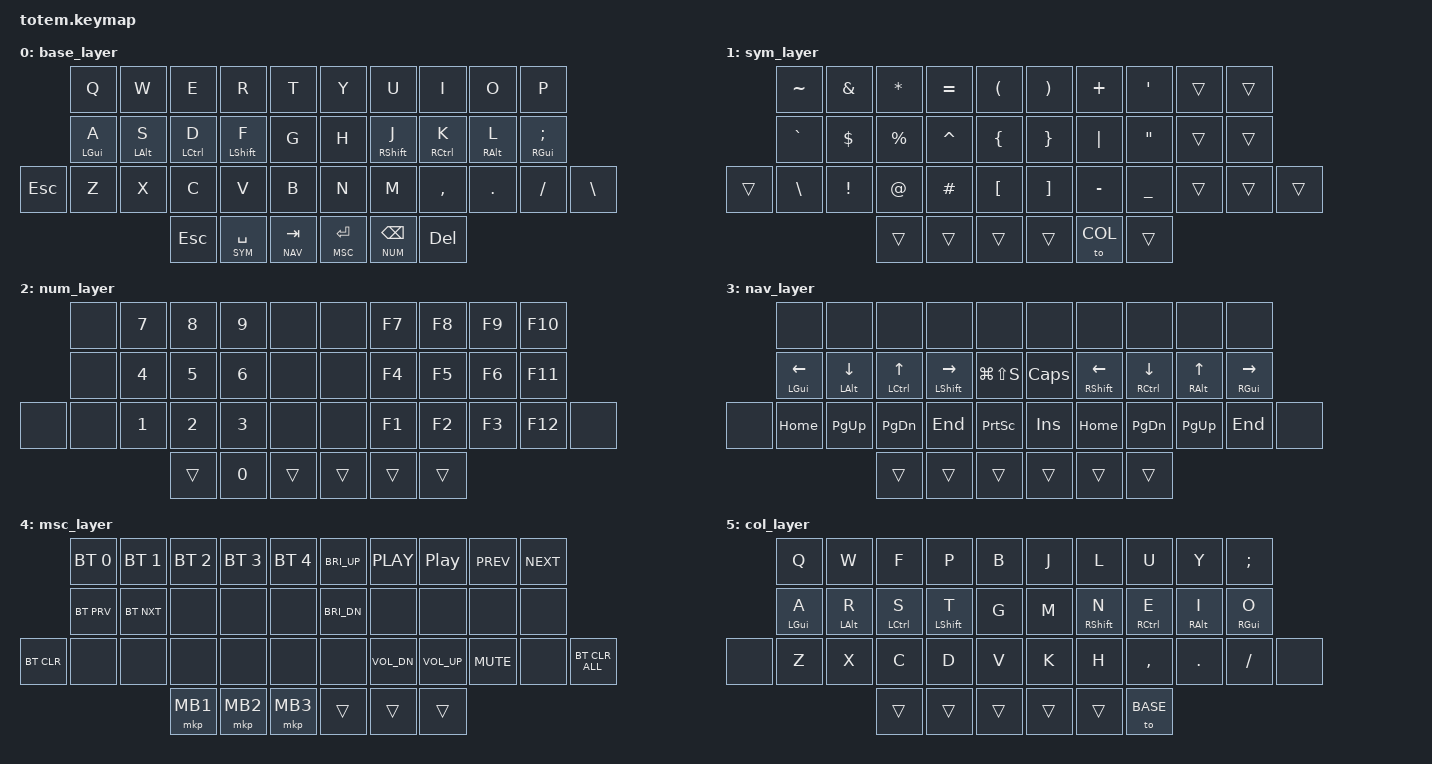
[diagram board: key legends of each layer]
//
//                                                        ▀▀▀▀▀     ▀▀▀▀▀          ▀▀█▀▀
//                                                        ▄▀▀▀▄  ▄  ▄▀▀▀▄  ▄  ▄▀▀▀▄  █  ▄▀▀▀▄
//                                                        █   █  █  █   █  █  █   █  █  █   █
//                                                         ▀▀▀   █   ▀▀▀   █   ▀▀▀   ▀   ▀▀▀
//                                                               █      ▄▄▄█▄▄▄    █   █  
//                                                               ▀      █  █  █     █▄█
//                                                             ▀▀▀▀▀    █  █  █      ▀
//                                                                      ▀  ▀  ▀
//
//  ▄▄▄▄▄▄▄▄▄▄▄▄▄▄▄▄▄▄▄▄▄▄▄▄▄▄▄▄▄▄▄▄▄▄▄▄▄▄▄▄▄▄▄▄▄▄▄▄▄▄▄▄▄▄▄▄▄▄▄▄▄▄▄▄▄▄▄▄▄▄▄▄▄▄▄▄▄▄▄▄▄▄▄▄▄▄▄▄▄▄▄▄▄▄▄▄▄▄▄▄▄▄▄▄▄▄▄▄▄▄▄▄▄▄▄▄▄▄▄▄▄▄▄▄▄▄▄▄▄▄▄▄▄▄▄▄▄▄▄▄▄▄▄▄▄▄▄▄▄
       

#include <behaviors.dtsi>
#include <dt-bindings/zmk/keys.h>
#include <dt-bindings/zmk/bt.h>
#include <dt-bindings/zmk/outputs.h>
#include <dt-bindings/zmk/mouse.h>

#define BASE 0
#define SYM  1
#define NUM  2
#define NAV  3
#define MSC  4
#define COL  5
// #define ADJ  3
// #define TVP1 4
// #define TVP2 5

&mt {
  quick-tap-ms = <100>;
  global-quick-tap;
  flavor = "tap-preferred";
  tapping-term-ms = <170>;
};

//		0	1	2	3	4		5	6	7	8	9
//		10	11	12	13	14		15	16	17	18	19
//	20	21	22	23	24	25		26	27	28	29	30	31
//				32	33	34		35	36	37


/ {
     combos {
            compatible = "zmk,combos";
            combo_esc {
                timeout-ms = <50>;
                key-positions = <18 19>;
                bindings = <&kp ESC>;
            };
			combo_del {
				timeout-ms = <50>;
				key-positions = <29 30>;
				bindings = <&kp DEL>;
			};

			combo_lpar {
				timeout-ms = <50>;
				key-positions = <2 3>;
				bindings = <&kp LPAR>;
			};
			combo_rpar {
				timeout-ms = <50>;
				key-positions = <6 7>;
				bindings = <&kp RPAR>;
			};
			combo_lbrc {
				timeout-ms = <50>;
				key-positions = <12 13>;
				bindings = <&kp LBRC>;
			};
			combo_rbrc {
				timeout-ms = <50>;
				key-positions = <16 17>;
				bindings = <&kp RBRC>;
			};
			combo_lbkt {
				timeout-ms = <50>;
				key-positions = <23 24>;
				bindings = <&kp LBKT>;
			};
			combo_rbkt {
				timeout-ms = <50>;
				key-positions = <27 28>;
				bindings = <&kp RBKT>;
			};
			
			combo_copy {
				timeout-ms = <50>;
				key-positions = <7 8>;
				bindings = <&kp LC(C)>;
			};
			combo_paste {
				timeout-ms = <50>;
				key-positions = <8 9>;
				bindings = <&kp LC(V)>;
			};
//            combo_tvp {
//                timeout-ms = <100>;
//                key-positions = <11 12 13>;
//                bindings = <&tog TVP1>;
//            };
    };

    macros {
        paste_return: paste_return  {
//            label = "giphy";
            compatible = "zmk,behavior-macro";
            #binding-cells = <0>;
            bindings
                = <&macro_press &kp LCTRL>
                , <&macro_tap &kp V>
                , <&macro_release &kp LCTRL>
                , <&macro_tap &kp ENTER>
                ;
        };
    };

        keymap {
                compatible = "zmk,keymap";
// ▄▄▄▄▄▄▄▄▄▄▄▄▄▄▄▄▄▄▄▄▄▄▄▄▄▄▄▄▄▄▄▄▄▄▄▄▄▄▄▄▄▄▄▄▄▄▄▄▄▄▄▄▄▄▄▄▄▄▄▄▄▄▄▄▄▄▄▄▄▄▄▄▄▄▄▄▄▄▄▄▄▄▄▄▄▄▄▄▄▄▄▄▄▄▄▄▄▄▄▄▄▄▄▄▄▄▄▄▄▄▄▄▄▄▄▄▄▄▄▄▄▄▄▄▄▄▄▄▄▄▄▄▄▄▄▄▄▄▄▄▄▄▄▄▄▄▄▄▄

                base_layer {
// ┏━━━━━━━━━━━━━━━━━━━━━━━━━━━━━━━━━━━━━━━┓
//label= "BASE"                              ;
// ┗━━━━━━━━━━━━━━━━━━━━━━━━━━━━━━━━━━━━━━━┛
//             ┏━━━━━━━━━━━┳━━━━━━━━━━━┳━━━━━━━━━━━┳━━━━━━━━━━━┳━━━━━━━━━━━┓   ┏━━━━━━━━━━━┳━━━━━━━━━━━┳━━━━━━━━━━━┳━━━━━━━━━━━┳━━━━━━━━━━━┓
//             ┃     Q     ┃     W     ┃     F     ┃     P     ┃     G     ┃   ┃     J     ┃     L     ┃     U     ┃     Y     ┃     ;     ┃
//             ┣━━━━━━━━━━━╋━━━━━━━━━━━╋━━━━━━━━━━━╋━━━━━━━━━━━╋━━━━━━━━━━━┫   ┣━━━━━━━━━━━╋━━━━━━━━━━━╋━━━━━━━━━━━╋━━━━━━━━━━━╋━━━━━━━━━━━┫
//             ┃     A     ┃     R     ┃     S     ┃     T     ┃     D     ┃   ┃     H     ┃     N     ┃     E     ┃     I     ┃     O     ┃
// ┏━━━━━━━━━━━╋━━━━━━━━━━━╋━━━━━━━━━━━╋━━━━━━━━━━━╋━━━━━━━━━━━╋━━━━━━━━━━━┫   ┣━━━━━━━━━━━╋━━━━━━━━━━━╋━━━━━━━━━━━╋━━━━━━━━━━━╋━━━━━━━━━━━╋━━━━━━━━━━━┓
// ┃     Q     ┃     Z     ┃     X     ┃     C     ┃     V     ┃     B     ┃   ┃     K     ┃     M     ┃     ,     ┃     .     ┃     /     ┃     \     ┃
// ┗━━━━━━━━━━━┻━━━━━━━━━━━┻━━━━━━━━━━━╋━━━━━━━━━━━╋━━━━━━━━━━━╋━━━━━━━━━━━┫   ┣━━━━━━━━━━━╋━━━━━━━━━━━╋━━━━━━━━━━━╋━━━━━━━━━━━┻━━━━━━━━━━━┻━━━━━━━━━━━┛
//                                     ┃    DEL    ┃    TAB    ┃    SPC    ┃   ┃   ENTER   ┃           ┃   BSPC    ┃
//                                     ┗━━━━━━━━━━━┻━━━━━━━━━━━┻━━━━━━━━━━━┛   ┗━━━━━━━━━━━┻━━━━━━━━━━━┻━━━━━━━━━━━┛
 bindings = <
// ╷           ╷           ╷           ╷           ╷           ╷           ╷   ╷           ╷           ╷           ╷           ╷           ╷           ╷
				&kp Q			&kp W			&kp E			&kp R			&kp T           &kp Y       	&kp U       	&kp I       	&kp O       	&kp P
				&mt LGUI A		&mt LALT S		&mt LCTRL D		&mt LSHFT F		&kp G           &kp H       	&mt RSHFT J 	&mt RCTRL K 	&mt RALT L  	&mt RGUI SEMI
	&kp ESC		&kp Z			&kp X			&kp C			&kp V			&kp B           &kp N       	&kp M       	&kp COMMA   	&kp DOT     	&kp FSLH		&kp BSLH
												&kp ESC			&lt SYM SPACE	&lt NAV TAB		&lt MSC RET		&lt NUM BSPC	&kp DEL
//												&none			&none			&none			&none			&none			&none
                        >;
                };

// ▄▄▄▄▄▄▄▄▄▄▄▄▄▄▄▄▄▄▄▄▄▄▄▄▄▄▄▄▄▄▄▄▄▄▄▄▄▄▄▄▄▄▄▄▄▄▄▄▄▄▄▄▄▄▄▄▄▄▄▄▄▄▄▄▄▄▄▄▄▄▄▄▄▄▄▄▄▄▄▄▄▄▄▄▄▄▄▄▄▄▄▄▄▄▄▄▄▄▄▄▄▄▄▄▄▄▄▄▄▄▄▄▄▄▄▄▄▄▄▄▄▄▄▄▄▄▄▄▄▄▄▄▄▄▄▄▄▄▄▄▄▄▄▄▄▄▄▄▄


                sym_layer {
//label= "SYM";
 bindings = <
                &kp TILDE		&kp AMPERSAND	&kp ASTERISK	&kp EQUAL		&kp LPAR		&kp RPAR		&kp PLUS		&kp APOS		&trans			&trans
                &kp GRAVE		&kp DOLLAR		&kp PERCENT		&kp CARET		&kp LBRC		&kp RBRC		&kp PIPE		&kp DQT 		&trans			&trans
	&trans		&kp BACKSLASH	&kp EXCL		&kp AT			&kp HASH		&kp LBKT		&kp RBKT		&kp MINUS		&kp UNDERSCORE	&trans			&trans			&trans      
												&trans			&trans			&trans			&trans			&to COL 		&trans      
                        >;
                };


                num_layer {
//label= "NUM";
 bindings = <
                &none			&kp N7			&kp N8			&kp N9			&none			&none			&kp F7			&kp F8			&kp F9			&kp F10
                &none			&kp N4			&kp N5			&kp N6			&none			&none			&kp F4			&kp F5			&kp F6			&kp F11
	&none		&none			&kp N1			&kp N2			&kp N3			&none			&none			&kp F1			&kp F2			&kp F3			&kp F12			&none      
												&trans			&kp N0			&trans			&trans			&trans			&trans      
                        >;
                };

				
	            nav_layer {
//label= "NAV";
 bindings = <
                &none			&none			&none			&none			&none			&none			&none			&none			&none			&none
                &mt LGUI LEFT	&mt LALT DOWN	&mt LCTRL UP	&mt LSHFT RIGHT &kp LG(LS(S))	&kp CAPS		&mt RSHFT LEFT	&mt RCTRL DOWN	&mt RALT UP	&mt RGUI RIGHT
	&none		&kp HOME		&kp PG_UP		&kp PG_DN		&kp END			&kp PSCRN		&kp INS			&kp HOME		&kp PG_DN		&kp PG_UP		&kp END			&none      
												&trans			&trans			&trans			&trans			&trans			&trans      
                        >;
                };

				
	            msc_layer {
//label= "MSC";
 bindings = <
				&bt BT_SEL 0	&bt BT_SEL 1	&bt	BT_SEL 2	&bt	BT_SEL 3	&bt	BT_SEL 4	&kp C_BRI_UP	&kp C_PLAY		&kp C_PP		&kp C_PREV		&kp C_NEXT
				&bt BT_PRV		&bt BT_NXT		&none			&none			&none			&kp C_BRI_DN	&none			&none			&none			&none
	&bt BT_CLR	&none			&none			&none			&none			&none			&none			&kp C_VOL_DN	&kp C_VOL_UP	&kp C_MUTE		&none			&bt BT_CLR_ALL  
												&mkp MB1		&mkp MB2		&mkp MB3		&trans			&trans			&trans      
//												&trans			&trans			&trans			&trans			&trans			&trans      
                        >;
                };


	            col_layer {
//label= "COL";
 bindings = <
                &kp Q			&kp W			&kp F			&kp P			&kp B			&kp J			&kp L			&kp U			&kp Y			&kp SEMI
                &mt LGUI A 		&mt LALT R 		&mt LCTRL S 	&mt LSHFT T 	&kp G			&kp M			&mt RSHFT N		&mt RCTRL E		&mt RALT I		&mt RGUI O
	&none		&kp Z			&kp X			&kp C			&kp D			&kp V			&kp K			&kp H			&kp COMMA		&kp DOT			&kp FSLH		&none      
												&trans 			&trans 			&trans 			&trans 			&trans 			&to BASE      
                        >;
                };	
			

//                nav_layer {
// ┏━━━━━━━━━━━━━━━━━━━━━━━━━━━━━━━━━━━━━━━┓
//label= "NAVI"                              ;
// ┗━━━━━━━━━━━━━━━━━━━━━━━━━━━━━━━━━━━━━━━┛
//             ┏━━━━━━━━━━━┳━━━━━━━━━━━┳━━━━━━━━━━━┳━━━━━━━━━━━┳━━━━━━━━━━━┓   ┏━━━━━━━━━━━┳━━━━━━━━━━━┳━━━━━━━━━━━┳━━━━━━━━━━━┳━━━━━━━━━━━┓
//             ┃           ┃           ┃     UP    ┃           ┃     {     ┃   ┃     }     ┃     7     ┃     8     ┃     9     ┃     +     ┃
//             ┣━━━━━━━━━━━╋━━━━━━━━━━━╋━━━━━━━━━━━╋━━━━━━━━━━━╋━━━━━━━━━━━┫   ┣━━━━━━━━━━━╋━━━━━━━━━━━╋━━━━━━━━━━━╋━━━━━━━━━━━╋━━━━━━━━━━━┫
//             ┃   SHIFT   ┃   LEFT    ┃    DOWN   ┃   RIGHT   ┃     [     ┃   ┃     ]     ┃     4     ┃     5     ┃     6     ┃     -     ┃
// ┏━━━━━━━━━━━╋━━━━━━━━━━━╋━━━━━━━━━━━╋━━━━━━━━━━━╋━━━━━━━━━━━╋━━━━━━━━━━━┫   ┣━━━━━━━━━━━╋━━━━━━━━━━━╋━━━━━━━━━━━╋━━━━━━━━━━━╋━━━━━━━━━━━╋━━━━━━━━━━━┓
// ┃           ┃           ┃   P UP    ┃  C LOCK   ┃  P DOWN   ┃     (     ┃   ┃     )     ┃     1     ┃     2     ┃     3     ┃     *     ┃           ┃
// ┗━━━━━━━━━━━┻━━━━━━━━━━━┻━━━━━━━━━━━╋━━━━━━━━━━━╋━━━━━━━━━━━╋━━━━━━━━━━━┫   ┣━━━━━━━━━━━╋━━━━━━━━━━━╋━━━━━━━━━━━╋━━━━━━━━━━━┻━━━━━━━━━━━┻━━━━━━━━━━━┛
//                                     ┃           ┃    TAB    ┃    SPC    ┃   ┃    DEL    ┃     0     ┃           ┃
//                                     ┗━━━━━━━━━━━┻━━━━━━━━━━━┻━━━━━━━━━━━┛   ┗━━━━━━━━━━━┻━━━━━━━━━━━┻━━━━━━━━━━━┛
// bindings = <
// ╷           ╷           ╷           ╷           ╷           ╷           ╷   ╷           ╷           ╷           ╷           ╷           ╷           ╷
//
//                &kp ESC     &bt BT_CLR  &kp UP      &kp EQUAL   &kp LBRC        &kp RBRC    &kp KP_N7   &kp KP_N8   &kp KP_N9   &kp KP_PLUS
//                &kp LSHFT   &kp LEFT    &kp DOWN    &kp RIGHT   &kp LBKT        &kp RBKT    &kp KP_N4   &kp KP_N5   &kp KP_N6   &kp KP_MINUS
//    &trans      &kp DEL     &kp PG_UP   &kp CAPS    &kp PG_DN   &kp LPAR        &kp RPAR    &kp KP_N1   &kp KP_N2   &kp KP_N3   &kp KP_MULTIPLY &trans      
//                                        &trans      &trans      &trans          &mo ADJ     &kp KP_N0   &trans      
//                        >;
//                };

// ▄▄▄▄▄▄▄▄▄▄▄▄▄▄▄▄▄▄▄▄▄▄▄▄▄▄▄▄▄▄▄▄▄▄▄▄▄▄▄▄▄▄▄▄▄▄▄▄▄▄▄▄▄▄▄▄▄▄▄▄▄▄▄▄▄▄▄▄▄▄▄▄▄▄▄▄▄▄▄▄▄▄▄▄▄▄▄▄▄▄▄▄▄▄▄▄▄▄▄▄▄▄▄▄▄▄▄▄▄▄▄▄▄▄▄▄▄▄▄▄▄▄▄▄▄▄▄▄▄▄▄▄▄▄▄▄▄▄▄▄▄▄▄▄▄▄▄▄▄


//                sim_layer {
// ┏━━━━━━━━━━━━━━━━━━━━━━━━━━━━━━━━━━━━━━━┓
//label= "SYM"                               ;
// ┗━━━━━━━━━━━━━━━━━━━━━━━━━━━━━━━━━━━━━━━┛
//             ┏━━━━━━━━━━━┳━━━━━━━━━━━┳━━━━━━━━━━━┳━━━━━━━━━━━┳━━━━━━━━━━━┓   ┏━━━━━━━━━━━┳━━━━━━━━━━━┳━━━━━━━━━━━┳━━━━━━━━━━━┳━━━━━━━━━━━┓
//             ┃     !     ┃     @     ┃     #     ┃     $     ┃     %     ┃   ┃     ˆ     ┃     &     ┃     Ü     ┃     '     ┃     "     ┃
//             ┣━━━━━━━━━━━╋━━━━━━━━━━━╋━━━━━━━━━━━╋━━━━━━━━━━━╋━━━━━━━━━━━┫   ┣━━━━━━━━━━━╋━━━━━━━━━━━╋━━━━━━━━━━━╋━━━━━━━━━━━╋━━━━━━━━━━━┫
//             ┃     Ä     ┃           ┃    SZ     ┃           ┃           ┃   ┃   MUTE    ┃   YEN     ┃   EURO    ┃  POUND    ┃     Ö     ┃
// ┏━━━━━━━━━━━╋━━━━━━━━━━━╋━━━━━━━━━━━╋━━━━━━━━━━━╋━━━━━━━━━━━╋━━━━━━━━━━━┫   ┣━━━━━━━━━━━╋━━━━━━━━━━━╋━━━━━━━━━━━╋━━━━━━━━━━━╋━━━━━━━━━━━╋━━━━━━━━━━━┓
// ┃           ┃  EMAIL1   ┃  EMAIL2   ┃           ┃           ┃           ┃   ┃   VOL-    ┃   VOL+    ┃   LAST    ┃   NEXT    ┃     \     ┃           ┃
// ┗━━━━━━━━━━━┻━━━━━━━━━━━┻━━━━━━━━━━━╋━━━━━━━━━━━╋━━━━━━━━━━━╋━━━━━━━━━━━┫   ┣━━━━━━━━━━━╋━━━━━━━━━━━╋━━━━━━━━━━━╋━━━━━━━━━━━┻━━━━━━━━━━━┻━━━━━━━━━━━┛
//                                     ┃           ┃    GIF    ┃    ADJ    ┃   ┃           ┃           ┃           ┃
//                                     ┗━━━━━━━━━━━┻━━━━━━━━━━━┻━━━━━━━━━━━┛   ┗━━━━━━━━━━━┻━━━━━━━━━━━┻━━━━━━━━━━━┛
// bindings = <
// ╷           ╷           ╷           ╷           ╷           ╷           ╷   ╷           ╷           ╷           ╷           ╷           ╷           ╷
//
//                &kp EXCL    &kp AT      &kp HASH    &kp DLLR    &kp PRCNT       &kp CARET   &kp AMPS    &kp RA(U)   &kp SQT     &kp DQT       
//                &kp RA(A)   &trans      &kp RA(S)   &trans      &trans          &kp C_MUTE  &kp LS(RA(N4)) &kp RA(N5) &kp RA(N4)   &kp RA(O) 
//    &trans      &kp RA(F18) &kp RA(F19) &trans      &trans      &trans          &kp C_VOL_DN &kp C_VOL_UP &kp C_PREV &kp C_NEXT  &kp BSLH   &trans         
//                                        &trans      &gif        &mo ADJ         &trans      &kp C_PP    &trans      
//                        >;
//                };

// ▄▄▄▄▄▄▄▄▄▄▄▄▄▄▄▄▄▄▄▄▄▄▄▄▄▄▄▄▄▄▄▄▄▄▄▄▄▄▄▄▄▄▄▄▄▄▄▄▄▄▄▄▄▄▄▄▄▄▄▄▄▄▄▄▄▄▄▄▄▄▄▄▄▄▄▄▄▄▄▄▄▄▄▄▄▄▄▄▄▄▄▄▄▄▄▄▄▄▄▄▄▄▄▄▄▄▄▄▄▄▄▄▄▄▄▄▄▄▄▄▄▄▄▄▄▄▄▄▄▄▄▄▄▄▄▄▄▄▄▄▄▄▄▄▄▄▄▄▄


//                adjust_layer {
// ┏━━━━━━━━━━━━━━━━━━━━━━━━━━━━━━━━━━━━━━━┓
//label= "ADJ"                               ;
// ┗━━━━━━━━━━━━━━━━━━━━━━━━━━━━━━━━━━━━━━━┛
//             ┏━━━━━━━━━━━┳━━━━━━━━━━━┳━━━━━━━━━━━┳━━━━━━━━━━━┳━━━━━━━━━━━┓   ┏━━━━━━━━━━━┳━━━━━━━━━━━┳━━━━━━━━━━━┳━━━━━━━━━━━┳━━━━━━━━━━━┓
//             ┃   RESET   ┃ BT CLEAR  ┃  OUT TOG  ┃           ┃           ┃   ┃           ┃    F7     ┃    F8     ┃    F9     ┃    F12    ┃
//             ┣━━━━━━━━━━━╋━━━━━━━━━━━╋━━━━━━━━━━━╋━━━━━━━━━━━╋━━━━━━━━━━━┫   ┣━━━━━━━━━━━╋━━━━━━━━━━━╋━━━━━━━━━━━╋━━━━━━━━━━━╋━━━━━━━━━━━┫
//             ┃ BOOTLOAD  ┃ BT NEXT   ┃           ┃           ┃           ┃   ┃           ┃    F4     ┃    F5     ┃    F6     ┃    F11    ┃
// ┏━━━━━━━━━━━╋━━━━━━━━━━━╋━━━━━━━━━━━╋━━━━━━━━━━━╋━━━━━━━━━━━╋━━━━━━━━━━━┫   ┣━━━━━━━━━━━╋━━━━━━━━━━━╋━━━━━━━━━━━╋━━━━━━━━━━━╋━━━━━━━━━━━╋━━━━━━━━━━━┓
// ┃           ┃           ┃ BT PREV   ┃           ┃           ┃           ┃   ┃           ┃    F1     ┃    F2     ┃    F3     ┃    F10    ┃           ┃
// ┗━━━━━━━━━━━┻━━━━━━━━━━━┻━━━━━━━━━━━╋━━━━━━━━━━━╋━━━━━━━━━━━╋━━━━━━━━━━━┫   ┣━━━━━━━━━━━╋━━━━━━━━━━━╋━━━━━━━━━━━╋━━━━━━━━━━━┻━━━━━━━━━━━┻━━━━━━━━━━━┛
//                                     ┃           ┃           ┃           ┃   ┃           ┃           ┃           ┃
//                                     ┗━━━━━━━━━━━┻━━━━━━━━━━━┻━━━━━━━━━━━┛   ┗━━━━━━━━━━━┻━━━━━━━━━━━┻━━━━━━━━━━━┛
// bindings = <
// ╷           ╷           ╷           ╷           ╷           ╷           ╷   ╷           ╷           ╷           ╷           ╷           ╷           ╷
//
//                &sys_reset  &bt BT_CLR &out OUT_TOG &trans      &trans          &trans      &kp F7      &kp F8      &kp F9      &kp F12
//                &bootloader &bt BT_NXT  &trans      &trans      &trans          &trans      &kp F4      &kp F5      &kp F6      &kp F11  
//    &trans      &trans      &bt BT_PRV  &trans      &trans      &trans          &trans      &kp F1      &kp F2      &kp F3      &kp F10     &trans         
//                                        &trans      &trans      &trans          &trans      &trans      &trans      
//                        >;
//                };

// ▄▄▄▄▄▄▄▄▄▄▄▄▄▄▄▄▄▄▄▄▄▄▄▄▄▄▄▄▄▄▄▄▄▄▄▄▄▄▄▄▄▄▄▄▄▄▄▄▄▄▄▄▄▄▄▄▄▄▄▄▄▄▄▄▄▄▄▄▄▄▄▄▄▄▄▄▄▄▄▄▄▄▄▄▄▄▄▄▄▄▄▄▄▄▄▄▄▄▄▄▄▄▄▄▄▄▄▄▄▄▄▄▄▄▄▄▄▄▄▄▄▄▄▄▄▄▄▄▄▄▄▄▄▄▄▄▄▄▄▄▄▄▄▄▄▄▄▄▄


//                tvp1_layer {
// ┏━━━━━━━━━━━━━━━━━━━━━━━━━━━━━━━━━━━━━━━┓
//label= "TVP 1"                             ;
// ┗━━━━━━━━━━━━━━━━━━━━━━━━━━━━━━━━━━━━━━━┛
//             ┏━━━━━━━━━━━┳━━━━━━━━━━━┳━━━━━━━━━━━┳━━━━━━━━━━━┳━━━━━━━━━━━┓   ┏━━━━━━━━━━━┳━━━━━━━━━━━┳━━━━━━━━━━━┳━━━━━━━━━━━┳━━━━━━━━━━━┓
//             ┃ NEXT FILE ┃ MARK IN   ┃ ROTATE    ┃ MARK OUT  ┃ SHOW SNAP ┃   ┃           ┃           ┃           ┃           ┃           ┃
//             ┣━━━━━━━━━━━╋━━━━━━━━━━━╋━━━━━━━━━━━╋━━━━━━━━━━━╋━━━━━━━━━━━┫   ┣━━━━━━━━━━━╋━━━━━━━━━━━╋━━━━━━━━━━━╋━━━━━━━━━━━╋━━━━━━━━━━━┫
//             ┃ TVP II    ┃ LEFT      ┃ PAN       ┃ RIGHT     ┃ PLAY/FLIP ┃   ┃           ┃           ┃           ┃           ┃           ┃
// ┏━━━━━━━━━━━╋━━━━━━━━━━━╋━━━━━━━━━━━╋━━━━━━━━━━━╋━━━━━━━━━━━╋━━━━━━━━━━━┫   ┣━━━━━━━━━━━╋━━━━━━━━━━━╋━━━━━━━━━━━╋━━━━━━━━━━━╋━━━━━━━━━━━╋━━━━━━━━━━━┓
// ┃ FULLSCR   ┃ SHIFT     ┃ COPY      ┃ DELETE    ┃ PASTE     ┃ IMG MARK  ┃   ┃           ┃           ┃           ┃           ┃           ┃           ┃
// ┗━━━━━━━━━━━┻━━━━━━━━━━━┻━━━━━━━━━━━╋━━━━━━━━━━━╋━━━━━━━━━━━╋━━━━━━━━━━━┫   ┣━━━━━━━━━━━╋━━━━━━━━━━━╋━━━━━━━━━━━╋━━━━━━━━━━━┻━━━━━━━━━━━┻━━━━━━━━━━━┛
//                                     ┃           ┃ UNDO/SAVE ┃  SEL/MOV  ┃   ┃           ┃           ┃           ┃
//                                     ┗━━━━━━━━━━━┻━━━━━━━━━━━┻━━━━━━━━━━━┛   ┗━━━━━━━━━━━┻━━━━━━━━━━━┻━━━━━━━━━━━┛
// bindings = <
// ╷           ╷           ╷           ╷           ╷           ╷           ╷   ╷           ╷           ╷           ╷           ╷           ╷           ╷
//
//                &kp TAB     &kp I       &kp LC(LALT) &kp O      &kp LC(F20)     &none       &none       &none       &none       &none
//                &lt TVP2 L  &kp LEFT    &kp LALT    &kp RIGHT   &kp SPACE       &none       &none       &none       &none       &none
//    &kp J       &kp LSHFT   &kp LC(C)   &kp BSPC    &kp LC(V)   &kp LC(F19)     &none       &none       &none       &none       &none       &none        
//                                        &trans      &kp LC(F14) &kp LC(F13)     &none       &none       &none    
//                        >;
//                };

// ▄▄▄▄▄▄▄▄▄▄▄▄▄▄▄▄▄▄▄▄▄▄▄▄▄▄▄▄▄▄▄▄▄▄▄▄▄▄▄▄▄▄▄▄▄▄▄▄▄▄▄▄▄▄▄▄▄▄▄▄▄▄▄▄▄▄▄▄▄▄▄▄▄▄▄▄▄▄▄▄▄▄▄▄▄▄▄▄▄▄▄▄▄▄▄▄▄▄▄▄▄▄▄▄▄▄▄▄▄▄▄▄▄▄▄▄▄▄▄▄▄▄▄▄▄▄▄▄▄▄▄▄▄▄▄▄▄▄▄▄▄▄▄▄▄▄▄▄▄


//                tvp2_layer {
// ┏━━━━━━━━━━━━━━━━━━━━━━━━━━━━━━━━━━━━━━━┓
//label= "TVP 2"                             ;
// ┗━━━━━━━━━━━━━━━━━━━━━━━━━━━━━━━━━━━━━━━┛
//             ┏━━━━━━━━━━━┳━━━━━━━━━━━┳━━━━━━━━━━━┳━━━━━━━━━━━┳━━━━━━━━━━━┓   ┏━━━━━━━━━━━┳━━━━━━━━━━━┳━━━━━━━━━━━┳━━━━━━━━━━━┳━━━━━━━━━━━┓
//             ┃ SOLO      ┃ TOGGLE IN ┃ RESET ROT ┃ TOGGLE OUT┃ TAKE SNAP ┃   ┃           ┃           ┃           ┃           ┃           ┃
//             ┣━━━━━━━━━━━╋━━━━━━━━━━━╋━━━━━━━━━━━╋━━━━━━━━━━━╋━━━━━━━━━━━┫   ┣━━━━━━━━━━━╋━━━━━━━━━━━╋━━━━━━━━━━━╋━━━━━━━━━━━╋━━━━━━━━━━━┫
//             ┃ ---       ┃ LAST KEY  ┃ NEW KEY   ┃ NEXT KEY  ┃ ENTER     ┃   ┃           ┃           ┃           ┃           ┃           ┃
// ┏━━━━━━━━━━━╋━━━━━━━━━━━╋━━━━━━━━━━━╋━━━━━━━━━━━╋━━━━━━━━━━━╋━━━━━━━━━━━┫   ┣━━━━━━━━━━━╋━━━━━━━━━━━╋━━━━━━━━━━━╋━━━━━━━━━━━╋━━━━━━━━━━━╋━━━━━━━━━━━┓
// ┃           ┃ FULLSCR   ┃ CPY2BRUSH ┃ DEL HEAD  ┃ PSTinPLACE┃ BOOK MARK ┃   ┃           ┃           ┃           ┃           ┃           ┃           ┃
// ┗━━━━━━━━━━━┻━━━━━━━━━━━┻━━━━━━━━━━━╋━━━━━━━━━━━╋━━━━━━━━━━━╋━━━━━━━━━━━┫   ┣━━━━━━━━━━━╋━━━━━━━━━━━╋━━━━━━━━━━━╋━━━━━━━━━━━┻━━━━━━━━━━━┻━━━━━━━━━━━┛
//                                     ┃           ┃ REDO/SAV1 ┃TRANS/WARP ┃   ┃           ┃           ┃           ┃
//                                     ┗━━━━━━━━━━━┻━━━━━━━━━━━┻━━━━━━━━━━━┛   ┗━━━━━━━━━━━┻━━━━━━━━━━━┻━━━━━━━━━━━┛
// bindings = <
// ╷           ╷           ╷           ╷           ╷           ╷           ╷   ╷           ╷           ╷           ╷           ╷           ╷           ╷
//
//                &kp LC(F18) &kp LS(I)  &kp LS(HOME) &kp LS(O)   &kp LS(F)       &trans      &kp F7      &kp F8      &kp F9      &kp F12
//                &trans      &kp LS(LEFT) &kp LC(F17) &kp LS(RIGHT) &kp RET      &trans      &kp F4      &kp F5      &kp F6      &kp F11  
//    &trans      &kp J       &kp LS(C)   &kp LC(F16) &kp LS(V)   &kp LC(F15)     &trans      &kp F1      &kp F2      &kp F3      &kp F10     &trans         
//                                        &trans      &kp LC(F12) &kp LC(F11)     &trans      &trans      &trans      
//                        >;
//                };
        };
};
